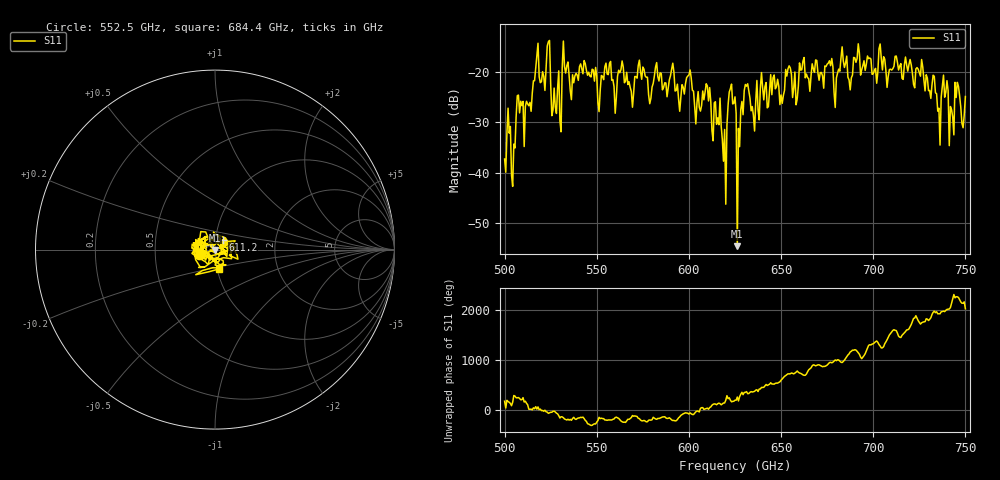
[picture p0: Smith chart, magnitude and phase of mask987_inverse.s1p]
!Created with skrf (http://scikit-rf.org).
# GHz S MA R 50.0
!freq magS11 angS11
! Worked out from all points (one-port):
!   401 points, 500 GHz to 750 GHz, reference 50 ohm
!   lowest |S11| = -54.5 dB at 626.2 GHz (marker M1), VSWR 1.00, Z = 50 - j0.186 ohm
!   |S11| at or under -10 dB: start of sweep to end of sweep
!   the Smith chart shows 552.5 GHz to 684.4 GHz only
!   S11 on the Smith chart (normalised r, x): 552.5 GHz: 0.84, -0.05; 611.2 GHz: 1.08, +0.12; 684.4 GHz: 1.02, -0.22
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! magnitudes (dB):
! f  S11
! 500 GHz  -37.3
! 505 GHz  -34.3
! 507.5 GHz  -24.6
! 511.9 GHz  -25.9
! 516.9 GHz  -19.3
! 523.8 GHz  -14.1
! 526.9 GHz  -23.2
! 531.2 GHz  -19.3
! 533.1 GHz  -20.3
! 552.5 GHz  -20.7
! 562.5 GHz  -20.2
! 593.8 GHz  -22.5
! 611.2 GHz  -23.1
! 619.4 GHz  -31.4
! 623.8 GHz  -26.4
! 625 GHz  -25.0
! 626.2 GHz  -54.5
! 631.2 GHz  -22.9
! 635 GHz  -28.7
! 656.2 GHz  -25.1
! 684.4 GHz  -19.2
! 687.5 GHz  -23.6
! 718.8 GHz  -19.9
! 735.6 GHz  -27.2
! 739.4 GHz  -24.1
! 742.5 GHz  -27.5
! 745.6 GHz  -22.1
! 750 GHz  -24.9
